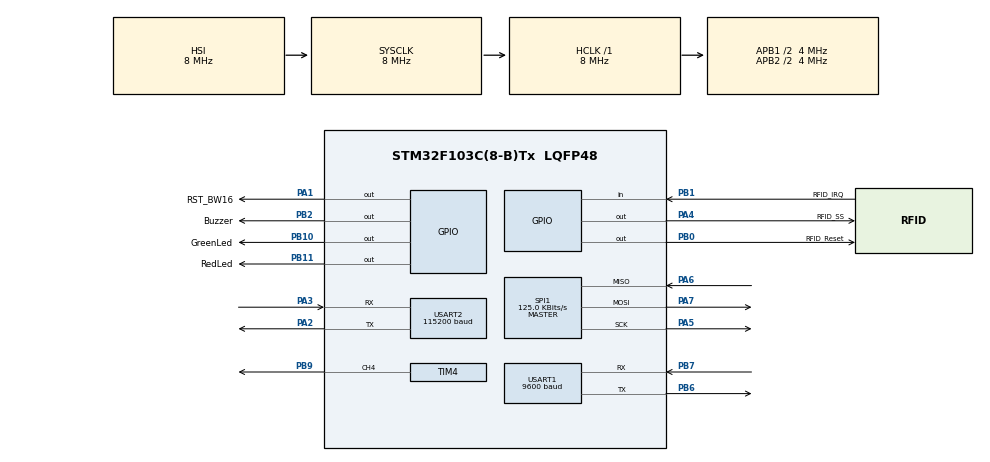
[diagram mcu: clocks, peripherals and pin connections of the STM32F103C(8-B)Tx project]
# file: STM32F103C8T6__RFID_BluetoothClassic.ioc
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Mcu.Family=STM32F1
Mcu.Name=STM32F103C(8-B)Tx
Mcu.Package=LQFP48
NVIC.PriorityGroup=NVIC_PRIORITYGROUP_4
NVIC.TIM1_UP_IRQn=true\:0\:0\:false\:false\:true\:true\:true\:true
NVIC.USART1_IRQn=true\:0\:0\:false\:false\:true\:true\:true\:true
NVIC.USART2_IRQn=true\:0\:0\:false\:false\:true\:true\:true\:true
PA1.GPIO_Label=RST_BW16
PA1.GPIO_PuPd=GPIO_PULLUP
PA1.Signal=GPIO_Output
PA13.Mode=Serial_Wire
PA13.Signal=SYS_JTMS-SWDIO
PA14.Mode=Serial_Wire
PA14.Signal=SYS_JTCK-SWCLK
PA2.Mode=Asynchronous
PA2.Signal=USART2_TX
PA3.Mode=Asynchronous
PA3.Signal=USART2_RX
PA4.GPIO_Label=RFID_SS
PA4.GPIO_Speed=GPIO_SPEED_FREQ_HIGH
PA4.PinState=GPIO_PIN_SET
PA4.Signal=GPIO_Output
PA5.Mode=Full_Duplex_Master
PA5.Signal=SPI1_SCK
PA6.Mode=Full_Duplex_Master
PA6.Signal=SPI1_MISO
PA7.Mode=Full_Duplex_Master
PA7.Signal=SPI1_MOSI
PB0.GPIO_Label=RFID_Reset
PB0.GPIO_Speed=GPIO_SPEED_FREQ_HIGH
PB0.Signal=GPIO_Output
PB1.GPIO_Label=RFID_IRQ
PB1.Signal=GPIO_Input
PB10.GPIO_Label=GreenLed
PB10.GPIO_PuPd=GPIO_PULLUP
PB10.GPIO_Speed=GPIO_SPEED_FREQ_HIGH
PB10.Signal=GPIO_Output
PB11.GPIO_Label=RedLed
PB11.GPIO_PuPd=GPIO_PULLUP
PB11.Signal=GPIO_Output
PB2.GPIO_Label=Buzzer
PB2.GPIO_PuPd=GPIO_PULLUP
PB2.GPIO_Speed=GPIO_SPEED_FREQ_HIGH
PB2.PinState=GPIO_PIN_SET
PB2.Signal=GPIO_Output
PB6.Mode=Asynchronous
PB6.Signal=USART1_TX
PB7.Mode=Asynchronous
PB7.Signal=USART1_RX
PB9.Signal=S_TIM4_CH4
PD0-OSC_IN.Mode=HSE-External-Oscillator
PD0-OSC_IN.Signal=RCC_OSC_IN
PD1-OSC_OUT.Mode=HSE-External-Oscillator
PD1-OSC_OUT.Signal=RCC_OSC_OUT
ProjectManager.HeapSize=0x200
ProjectManager.StackSize=0x400
ProjectManager.TargetToolchain=STM32CubeIDE
RCC.AHBFreq_Value=8000000
RCC.APB1CLKDivider=RCC_HCLK_DIV2
RCC.APB1Freq_Value=4000000
RCC.APB1TimFreq_Value=8000000
RCC.APB2CLKDivider=RCC_HCLK_DIV2
RCC.APB2Freq_Value=4000000
RCC.APB2TimFreq_Value=8000000
RCC.HCLKFreq_Value=8000000
RCC.PLLMUL=RCC_PLL_MUL9
RCC.PLLSourceVirtual=RCC_PLLSOURCE_HSE
RCC.SYSCLKFreq_VALUE=8000000
RCC.USBFreq_Value=72000000
SH.S_TIM4_CH4.0=TIM4_CH4,PWM Generation4 CH4
SPI1.BaudRatePrescaler=SPI_BAUDRATEPRESCALER_32
SPI1.CalculateBaudRate=125.0 KBits/s
SPI1.Direction=SPI_DIRECTION_2LINES
SPI1.FirstBit=SPI_FIRSTBIT_LSB
SPI1.Mode=SPI_MODE_MASTER
SPI1.VirtualType=VM_MASTER
TIM1.Period=200
TIM1.Prescaler=7999
TIM2.Period=6
TIM2.Prescaler=8799
TIM4.Channel-PWM\ Generation4\ CH4=TIM_CHANNEL_4
TIM4.Period=9999
TIM4.Prescaler=15
USART1.BaudRate=9600
USART1.VirtualMode=VM_ASYNC
USART2.BaudRate=115200
USART2.VirtualMode=VM_ASYNC
VP_TIM1_VS_ClockSourceINT.Mode=Internal
VP_TIM2_VS_ClockSourceINT.Mode=Internal
VP_TIM4_VS_ClockSourceINT.Mode=Internal
board=custom

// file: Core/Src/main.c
/* USER CODE BEGIN Header */
/**
  ******************************************************************************
  * @file           : main.c
  * @brief          : Main program body
  ******************************************************************************
  * @attention
  *
  * <h2><center>&copy; Copyright (c) 2020 STMicroelectronics.
  * All rights reserved.</center></h2>
  *
  * This software component is licensed by ST under BSD 3-Clause license,
  * the "License"; You may not use this file except in compliance with the
  * License. You may obtain a copy of the License at:
  *                        opensource.org/licenses/BSD-3-Clause
  *
  ******************************************************************************
  */
/* USER CODE END Header */

#include "main.h"

/* USER CODE BEGIN Includes */
#include "pn532_stm32f1.h"
#include <stdio.h>
#include <string.h>
#include "bw16AT.h"
/* USER CODE END Includes */

/* USER CODE BEGIN PD */
#define use_HEXADECIMAL
/* USER CODE END PD */

SPI_HandleTypeDef hspi1;

TIM_HandleTypeDef htim1;
TIM_HandleTypeDef htim2;
TIM_HandleTypeDef htim4;

UART_HandleTypeDef huart1;
UART_HandleTypeDef huart2;

void SystemClock_Config(void);
static void MX_GPIO_Init(void);
static void MX_SPI1_Init(void);
static void MX_USART2_UART_Init(void);
static void MX_USART1_UART_Init(void);
static void MX_TIM1_Init(void);
static void MX_TIM2_Init(void);
static void MX_TIM4_Init(void);
/* USER CODE BEGIN PFP */
void Bw16_WiFi_Init(void);
void Stm32_Clearing_Buffer(uint8_t *ptrBuffer, uint16_t sizeBuffer);
void Stm32_Check_BW16_Response(uint8_t *ptrBuffer, uint8_t *ptrContent);
void SmartConfigWifi(void);
void BW16_MQTT_Broker_Init();
/* USER CODE END PFP */

/* USER CODE BEGIN 0 */
uint8_t wirelessBuffer[WIRELESS_MAX_BYTES];
uint8_t wirelessData = 0;
uint16_t wirelessCounter = 0;

uint8_t modbusData[WIRELESS_MAX_BYTES];
uint8_t modbusDataChar = 0;
uint16_t modbusDataCount = 0;
uint8_t buffUartWifi = 0;
uint8_t displayStatusWiFi = 0;
MQTT_StructuresTypeDef broker;
uint8_t maincheck = 0;
uint8_t statusWiFiCounter = 0;
uint8_t statusClose = 0;
uint8_t Flag_counter = 0;
//use for print debug log
int _write(int file, char *ptr, int len)
{
    HAL_UART_Transmit(&huart1, (uint8_t*)ptr, len, HAL_MAX_DELAY);
    return len;
}
void HAL_UART_RxCpltCallback(UART_HandleTypeDef *huart)
{
	UNUSED(huart);// tránh cảnh báo biến chưa được sử dụng từ trình biên dịc

	if(huart->Instance == USART1)
	{

		HAL_UART_Receive_IT(&huart1, &modbusDataChar, 1);
		modbusData[modbusDataCount] = modbusDataChar;
		modbusDataCount++;
	}
	if(huart->Instance == USART2)
	{
//		if(buffUartWifi == 0){
//			buffUartWifi = 1;
//			HAL_TIM_Base_Start(&htim2);
//		}
		HAL_UART_Receive_IT(&huart2, &wirelessData, 1);
		if(wirelessData == 0) wirelessData = 64;
		wirelessBuffer[wirelessCounter++] = wirelessData;
		if(wirelessCounter > WIRELESS_MAX_BYTES - 1) wirelessCounter = 0;
//		__HAL_TIM_SET_COUNTER(&htim2, 0);
	}
}

void HAL_TIM_PeriodElapsedCallback(TIM_HandleTypeDef *htim)
{
  UNUSED(htim);

  if(htim->Instance == TIM1)
  {
	statusWiFiCounter++;
	if(maincheck == 0){
		if(statusWiFiCounter == displayStatusWiFi)
		{
			if(displayStatusWiFi != SMARTCONFIG_WIFI){
			  if(displayStatusWiFi == SUCCESSFULLY_CONNECTED_WIFIAP) HAL_GPIO_WritePin(GreenLed_GPIO_Port, GreenLed_Pin, GPIO_PIN_RESET);
			  else HAL_GPIO_TogglePin(GreenLed_GPIO_Port, GreenLed_Pin);
			}
			else{
			  HAL_GPIO_WritePin(GreenLed_GPIO_Port, GreenLed_Pin, GPIO_PIN_RESET);
			  if(displayStatusWiFi == SUCCESSFULLY_CONNECTED_WIFIAP) HAL_GPIO_WritePin(RedLed_GPIO_Port, RedLed_Pin, GPIO_PIN_RESET);
			  else HAL_GPIO_TogglePin(RedLed_GPIO_Port, RedLed_Pin);
			}

		  statusWiFiCounter = 0;
		}
	}
	else{
		if(statusWiFiCounter == 120){
			Flag_counter = 1;
			statusWiFiCounter = 0;

		}
	}
  }
}
/* USER CODE END 0 */
uint16_t countertest;
int main(void)
{

  /* MCU Configuration--------------------------------------------------------*/

  /* Reset of all peripherals, Initializes the Flash interface and the Systick. */
  HAL_Init();

  /* Configure the system clock */
  SystemClock_Config();

  /* USER CODE BEGIN SysInit */
  HAL_Delay(2000);
  /* USER CODE END SysInit */

  /* Initialize all configured peripherals */
  MX_GPIO_Init();
  MX_SPI1_Init();
  MX_USART2_UART_Init();
  MX_USART1_UART_Init();
  MX_TIM1_Init();
  MX_TIM2_Init();
  MX_TIM4_Init();
  /* USER CODE BEGIN 2 */

  HAL_UART_Receive_IT(&huart1, &modbusDataChar, 1);
  HAL_UART_Receive_IT(&huart2, &wirelessData, 1);
  HAL_TIM_Base_Start_IT(&htim1);
  HAL_TIM_PWM_Start(&htim4, TIM_CHANNEL_4);

  uint8_t buff[255];
  uint8_t uid[10];
  int32_t uid_len = 0;
  printf("init systems\r\n");
//  while(1){
//		__HAL_TIM_SET_COMPARE(&htim4,TIM_CHANNEL_4,950);
//		HAL_Delay(1000);
//		__HAL_TIM_SET_COMPARE(&htim4,TIM_CHANNEL_4,450);
//		HAL_Delay(1000);
//  }

  Bw16_WiFi_Init();
  BW16_MQTT_Broker_Init();

//  HAL_TIM_Base_Stop(&htim1);
  maincheck = 1;
  HAL_GPIO_WritePin(RedLed_GPIO_Port, RedLed_Pin, GPIO_PIN_RESET);
  HAL_GPIO_WritePin(GreenLed_GPIO_Port, GreenLed_Pin,RESET);
  __HAL_TIM_SET_COMPARE(&htim4,TIM_CHANNEL_4,950);

  PN532 pn532;
  PN532_SPI_Init(&pn532);
  printf("init PN532\r\n");
  if (PN532_GetFirmwareVersion(&pn532, buff) != PN532_STATUS_OK)
  {	  uint8_t timeout = 10;
	  while(timeout--){
		  HAL_GPIO_TogglePin(RedLed_GPIO_Port, RedLed_Pin);
		  HAL_Delay(200);
	  }HAL_TIM_Base_Stop(&htim2);
	  HAL_NVIC_SystemReset();
  }
  printf("PN532_GetFirmwareVersion success\r\n");

  PN532_SamConfiguration(&pn532);
  /* USER CODE END 2 */

  /* Infinite loop */
  while (1)
  {

    /* USER CODE BEGIN 3 */
	memset(uid, 0, sizeof(uid));

	uid_len = PN532_ReadPassiveTarget(&pn532, uid, PN532_MIFARE_ISO14443A, 1000);
	if (uid_len != PN532_STATUS_ERROR)
	{
		char stringForHex[6 * uid_len + 6];
		memset(stringForHex, 0, sizeof(stringForHex));
		strcat(stringForHex, "CODE:");
		for(uint8_t i=0; i<uid_len; i++)
		{
//			printf("%02X\r\n",uid[i]);
			sprintf(stringForHex + strlen(stringForHex), " 0x%02X", uid[i]);
		}

		printf("%s\r\n",stringForHex);
		HAL_GPIO_WritePin(Buzzer_GPIO_Port, Buzzer_Pin, RESET);
		HAL_Delay(100);
		HAL_GPIO_WritePin(Buzzer_GPIO_Port, Buzzer_Pin, SET);
		Bw16_MQTT_Publish(huart2,broker.topic.pub,(uint8_t*)"0",(uint8_t*)"0",(uint8_t*)stringForHex);
		Stm32_Clearing_Buffer(wirelessBuffer, WIRELESS_MAX_BYTES);
		HAL_GPIO_WritePin(RedLed_GPIO_Port, RedLed_Pin, GPIO_PIN_SET);
		HAL_GPIO_WritePin(GreenLed_GPIO_Port, GreenLed_Pin,RESET);
		__HAL_TIM_SET_COMPARE(&htim4,TIM_CHANNEL_4,950);
		HAL_Delay(400);
	}
	for (uint8_t i = 0; i < 50;i++){
		if(wirelessBuffer[i] == 'O' && wirelessBuffer[i+1] == 'P' && wirelessBuffer[i+2] == 'E' &&
		   wirelessBuffer[i+3] == 'N'){
				HAL_GPIO_WritePin(GreenLed_GPIO_Port, GreenLed_Pin,SET);
				HAL_GPIO_WritePin(RedLed_GPIO_Port, RedLed_Pin,RESET);
				Stm32_Clearing_Buffer(wirelessBuffer, WIRELESS_MAX_BYTES);
				statusWiFiCounter = 0;
				statusClose = 1;
				__HAL_TIM_SET_COMPARE(&htim4,TIM_CHANNEL_4,450);
			printf("Open\r\n");
		}
		else if(wirelessBuffer[i] == 'C' && wirelessBuffer[i+1] == 'L' && wirelessBuffer[i+2] == 'O' &&
		   wirelessBuffer[i+3] == 'S' && wirelessBuffer[i+4] == 'E'){
				HAL_GPIO_WritePin(GreenLed_GPIO_Port, GreenLed_Pin,RESET);
				HAL_GPIO_WritePin(RedLed_GPIO_Port, RedLed_Pin,SET);
				Stm32_Clearing_Buffer(wirelessBuffer, WIRELESS_MAX_BYTES);
				statusWiFiCounter = 0;
				__HAL_TIM_SET_COMPARE(&htim4,TIM_CHANNEL_4,950);
				printf("Close\r\n");
		}
	}
	if(statusClose == 1 && Flag_counter == 1){
		statusClose = 0;
		Flag_counter = 0;
		HAL_GPIO_WritePin(RedLed_GPIO_Port, RedLed_Pin, GPIO_PIN_SET);
		HAL_GPIO_WritePin(GreenLed_GPIO_Port, GreenLed_Pin, GPIO_PIN_RESET);
		__HAL_TIM_SET_COMPARE(&htim4,TIM_CHANNEL_4,950);
	}
	else if(statusClose == 0 && Flag_counter == 1){
		Flag_counter = 0;
	}
  }
  /* USER CODE END 3 */
}

void SystemClock_Config(void)
{
  RCC_OscInitTypeDef RCC_OscInitStruct = {0};
  RCC_ClkInitTypeDef RCC_ClkInitStruct = {0};

  /** Initializes the CPU, AHB and APB busses clocks
  */
  RCC_OscInitStruct.OscillatorType = RCC_OSCILLATORTYPE_HSI;
  RCC_OscInitStruct.HSIState = RCC_HSI_ON;
  RCC_OscInitStruct.HSICalibrationValue = RCC_HSICALIBRATION_DEFAULT;
  RCC_OscInitStruct.PLL.PLLState = RCC_PLL_NONE;
  if (HAL_RCC_OscConfig(&RCC_OscInitStruct) != HAL_OK)
  {
    Error_Handler();
  }
  /** Initializes the CPU, AHB and APB busses clocks
  */
  RCC_ClkInitStruct.ClockType = RCC_CLOCKTYPE_HCLK|RCC_CLOCKTYPE_SYSCLK
                              |RCC_CLOCKTYPE_PCLK1|RCC_CLOCKTYPE_PCLK2;
  RCC_ClkInitStruct.SYSCLKSource = RCC_SYSCLKSOURCE_HSI;
  RCC_ClkInitStruct.AHBCLKDivider = RCC_SYSCLK_DIV1;
  RCC_ClkInitStruct.APB1CLKDivider = RCC_HCLK_DIV2;
  RCC_ClkInitStruct.APB2CLKDivider = RCC_HCLK_DIV2;

  if (HAL_RCC_ClockConfig(&RCC_ClkInitStruct, FLASH_LATENCY_0) != HAL_OK)
  {
    Error_Handler();
  }
}

static void MX_SPI1_Init(void)
{

  /* SPI1 parameter configuration*/
  hspi1.Instance = SPI1;
  hspi1.Init.Mode = SPI_MODE_MASTER;
  hspi1.Init.Direction = SPI_DIRECTION_2LINES;
  hspi1.Init.DataSize = SPI_DATASIZE_8BIT;
  hspi1.Init.CLKPolarity = SPI_POLARITY_LOW;
  hspi1.Init.CLKPhase = SPI_PHASE_1EDGE;
  hspi1.Init.NSS = SPI_NSS_SOFT;
  hspi1.Init.BaudRatePrescaler = SPI_BAUDRATEPRESCALER_32;
  hspi1.Init.FirstBit = SPI_FIRSTBIT_LSB;
  hspi1.Init.TIMode = SPI_TIMODE_DISABLE;
  hspi1.Init.CRCCalculation = SPI_CRCCALCULATION_DISABLE;
  hspi1.Init.CRCPolynomial = 10;
  if (HAL_SPI_Init(&hspi1) != HAL_OK)
  {
    Error_Handler();
  }

}

static void MX_TIM1_Init(void)
{

  TIM_ClockConfigTypeDef sClockSourceConfig = {0};
  TIM_MasterConfigTypeDef sMasterConfig = {0};

  htim1.Instance = TIM1;
  htim1.Init.Prescaler = 7999;
  htim1.Init.CounterMode = TIM_COUNTERMODE_UP;
  htim1.Init.Period = 200;
  htim1.Init.ClockDivision = TIM_CLOCKDIVISION_DIV1;
  htim1.Init.RepetitionCounter = 0;
  htim1.Init.AutoReloadPreload = TIM_AUTORELOAD_PRELOAD_DISABLE;
  if (HAL_TIM_Base_Init(&htim1) != HAL_OK)
  {
    Error_Handler();
  }
  sClockSourceConfig.ClockSource = TIM_CLOCKSOURCE_INTERNAL;
  if (HAL_TIM_ConfigClockSource(&htim1, &sClockSourceConfig) != HAL_OK)
  {
    Error_Handler();
  }
  sMasterConfig.MasterOutputTrigger = TIM_TRGO_RESET;
  sMasterConfig.MasterSlaveMode = TIM_MASTERSLAVEMODE_DISABLE;
  if (HAL_TIMEx_MasterConfigSynchronization(&htim1, &sMasterConfig) != HAL_OK)
  {
    Error_Handler();
  }

}

static void MX_TIM2_Init(void)
{

  TIM_ClockConfigTypeDef sClockSourceConfig = {0};
  TIM_MasterConfigTypeDef sMasterConfig = {0};

  htim2.Instance = TIM2;
  htim2.Init.Prescaler = 8799;
  htim2.Init.CounterMode = TIM_COUNTERMODE_UP;
  htim2.Init.Period = 6;
  htim2.Init.ClockDivision = TIM_CLOCKDIVISION_DIV1;
  htim2.Init.AutoReloadPreload = TIM_AUTORELOAD_PRELOAD_DISABLE;
  if (HAL_TIM_Base_Init(&htim2) != HAL_OK)
  {
    Error_Handler();
  }
  sClockSourceConfig.ClockSource = TIM_CLOCKSOURCE_INTERNAL;
  if (HAL_TIM_ConfigClockSource(&htim2, &sClockSourceConfig) != HAL_OK)
  {
    Error_Handler();
  }
  sMasterConfig.MasterOutputTrigger = TIM_TRGO_RESET;
  sMasterConfig.MasterSlaveMode = TIM_MASTERSLAVEMODE_DISABLE;
  if (HAL_TIMEx_MasterConfigSynchronization(&htim2, &sMasterConfig) != HAL_OK)
  {
    Error_Handler();
  }

}

static void MX_TIM4_Init(void)
{

  TIM_ClockConfigTypeDef sClockSourceConfig = {0};
  TIM_MasterConfigTypeDef sMasterConfig = {0};
  TIM_OC_InitTypeDef sConfigOC = {0};

  htim4.Instance = TIM4;
  htim4.Init.Prescaler = 15;
  htim4.Init.CounterMode = TIM_COUNTERMODE_UP;
  htim4.Init.Period = 9999;
  htim4.Init.ClockDivision = TIM_CLOCKDIVISION_DIV1;
  htim4.Init.AutoReloadPreload = TIM_AUTORELOAD_PRELOAD_DISABLE;
  if (HAL_TIM_Base_Init(&htim4) != HAL_OK)
  {
    Error_Handler();
  }
  sClockSourceConfig.ClockSource = TIM_CLOCKSOURCE_INTERNAL;
  if (HAL_TIM_ConfigClockSource(&htim4, &sClockSourceConfig) != HAL_OK)
  {
    Error_Handler();
  }
  if (HAL_TIM_PWM_Init(&htim4) != HAL_OK)
  {
    Error_Handler();
  }
  sMasterConfig.MasterOutputTrigger = TIM_TRGO_RESET;
  sMasterConfig.MasterSlaveMode = TIM_MASTERSLAVEMODE_DISABLE;
  if (HAL_TIMEx_MasterConfigSynchronization(&htim4, &sMasterConfig) != HAL_OK)
  {
    Error_Handler();
  }
  sConfigOC.OCMode = TIM_OCMODE_PWM1;
  sConfigOC.Pulse = 0;
  sConfigOC.OCPolarity = TIM_OCPOLARITY_HIGH;
  sConfigOC.OCFastMode = TIM_OCFAST_DISABLE;
  if (HAL_TIM_PWM_ConfigChannel(&htim4, &sConfigOC, TIM_CHANNEL_4) != HAL_OK)
  {
    Error_Handler();
  }
  HAL_TIM_MspPostInit(&htim4);

}

static void MX_USART1_UART_Init(void)
{

  huart1.Instance = USART1;
  huart1.Init.BaudRate = 9600;
  huart1.Init.WordLength = UART_WORDLENGTH_8B;
  huart1.Init.StopBits = UART_STOPBITS_1;
  huart1.Init.Parity = UART_PARITY_NONE;
  huart1.Init.Mode = UART_MODE_TX_RX;
  huart1.Init.HwFlowCtl = UART_HWCONTROL_NONE;
  huart1.Init.OverSampling = UART_OVERSAMPLING_16;
  if (HAL_UART_Init(&huart1) != HAL_OK)
  {
    Error_Handler();
  }

}

static void MX_USART2_UART_Init(void)
{

  huart2.Instance = USART2;
  huart2.Init.BaudRate = 115200;
  huart2.Init.WordLength = UART_WORDLENGTH_8B;
  huart2.Init.StopBits = UART_STOPBITS_1;
  huart2.Init.Parity = UART_PARITY_NONE;
  huart2.Init.Mode = UART_MODE_TX_RX;
  huart2.Init.HwFlowCtl = UART_HWCONTROL_NONE;
  huart2.Init.OverSampling = UART_OVERSAMPLING_16;
  if (HAL_UART_Init(&huart2) != HAL_OK)
  {
    Error_Handler();
  }

}

static void MX_GPIO_Init(void)
{
  GPIO_InitTypeDef GPIO_InitStruct = {0};

  /* GPIO Ports Clock Enable */
  __HAL_RCC_GPIOD_CLK_ENABLE();
  __HAL_RCC_GPIOA_CLK_ENABLE();
  __HAL_RCC_GPIOB_CLK_ENABLE();

  /*Configure GPIO pin Output Level */
  HAL_GPIO_WritePin(RST_BW16_GPIO_Port, RST_BW16_Pin, GPIO_PIN_RESET);

  /*Configure GPIO pin Output Level */
  HAL_GPIO_WritePin(RFID_SS_GPIO_Port, RFID_SS_Pin, GPIO_PIN_SET);

  /*Configure GPIO pin Output Level */
  HAL_GPIO_WritePin(GPIOB, RFID_Reset_Pin|GreenLed_Pin|RedLed_Pin, GPIO_PIN_RESET);

  /*Configure GPIO pin Output Level */
  HAL_GPIO_WritePin(Buzzer_GPIO_Port, Buzzer_Pin, GPIO_PIN_SET);

  /*Configure GPIO pin : RST_BW16_Pin */
  GPIO_InitStruct.Pin = RST_BW16_Pin;
  GPIO_InitStruct.Mode = GPIO_MODE_OUTPUT_PP;
  GPIO_InitStruct.Pull = GPIO_PULLUP;
  GPIO_InitStruct.Speed = GPIO_SPEED_FREQ_LOW;
  HAL_GPIO_Init(RST_BW16_GPIO_Port, &GPIO_InitStruct);

  /*Configure GPIO pin : RFID_SS_Pin */
  GPIO_InitStruct.Pin = RFID_SS_Pin;
  GPIO_InitStruct.Mode = GPIO_MODE_OUTPUT_PP;
  GPIO_InitStruct.Pull = GPIO_NOPULL;
  GPIO_InitStruct.Speed = GPIO_SPEED_FREQ_HIGH;
  HAL_GPIO_Init(RFID_SS_GPIO_Port, &GPIO_InitStruct);

  /*Configure GPIO pin : RFID_Reset_Pin */
  GPIO_InitStruct.Pin = RFID_Reset_Pin;
  GPIO_InitStruct.Mode = GPIO_MODE_OUTPUT_PP;
  GPIO_InitStruct.Pull = GPIO_NOPULL;
  GPIO_InitStruct.Speed = GPIO_SPEED_FREQ_HIGH;
  HAL_GPIO_Init(RFID_Reset_GPIO_Port, &GPIO_InitStruct);

  /*Configure GPIO pin : RFID_IRQ_Pin */
  GPIO_InitStruct.Pin = RFID_IRQ_Pin;
  GPIO_InitStruct.Mode = GPIO_MODE_INPUT;
  GPIO_InitStruct.Pull = GPIO_NOPULL;
  HAL_GPIO_Init(RFID_IRQ_GPIO_Port, &GPIO_InitStruct);

  /*Configure GPIO pins : Buzzer_Pin GreenLed_Pin */
  GPIO_InitStruct.Pin = Buzzer_Pin|GreenLed_Pin;
  GPIO_InitStruct.Mode = GPIO_MODE_OUTPUT_PP;
  GPIO_InitStruct.Pull = GPIO_PULLUP;
  GPIO_InitStruct.Speed = GPIO_SPEED_FREQ_HIGH;
  HAL_GPIO_Init(GPIOB, &GPIO_InitStruct);

  /*Configure GPIO pin : RedLed_Pin */
  GPIO_InitStruct.Pin = RedLed_Pin;
  GPIO_InitStruct.Mode = GPIO_MODE_OUTPUT_PP;
  GPIO_InitStruct.Pull = GPIO_PULLUP;
  GPIO_InitStruct.Speed = GPIO_SPEED_FREQ_LOW;
  HAL_GPIO_Init(RedLed_GPIO_Port, &GPIO_InitStruct);

}

/* USER CODE BEGIN 4 */
void Stm32_Clearing_Buffer(uint8_t *ptrBuffer, uint16_t sizeBuffer)
{
  if(ptrBuffer == &wirelessBuffer[0]) wirelessCounter = 0;

	for(uint16_t i = 0; i < sizeBuffer; i++) ptrBuffer[i] = '\0';
}
void Bw16_WiFi_Init(void){
	displayStatusWiFi = CHECK_CONNECTING_WIFIAP;
	HAL_GPIO_WritePin(RST_BW16_GPIO_Port, RST_BW16_Pin, GPIO_PIN_RESET);
	HAL_Delay(500);
	HAL_GPIO_WritePin(RST_BW16_GPIO_Port, RST_BW16_Pin, GPIO_PIN_SET);
//	HAL_Delay(10000);
//	Bw16_Setup_Default(huart2);
//	HAL_Delay(5000);
    if(Bw16_Response(wirelessBuffer, (uint8_t*)"WIFI_GOT_IP", 10000)) Stm32_Clearing_Buffer(wirelessBuffer, WIRELESS_MAX_BYTES);
    else SmartConfigWifi();
    HAL_Delay(200);
	Bw16_Echo(huart2, DISABLE);
	Stm32_Check_BW16_Response(wirelessBuffer, (uint8_t*)"OK");
    HAL_Delay(200);
	Bw16_Configure_Mode(huart2, Flash_STA_Mode);
	Stm32_Check_BW16_Response(wirelessBuffer, (uint8_t*)"OK");
    HAL_Delay(200);
}
void Stm32_Check_BW16_Response(uint8_t *ptrBuffer, uint8_t *ptrContent)
{
	if(!Bw16_Response(ptrBuffer, ptrContent, 10000)) HAL_NVIC_SystemReset();
	else Stm32_Clearing_Buffer(ptrBuffer, WIRELESS_MAX_BYTES);
}
void SmartConfigWifi(void)
{
	displayStatusWiFi = SMARTCONFIG_WIFI;
	HAL_Delay(100);
	BW16_Start_SmartConfig(huart2,Wifi_Config);
	HAL_Delay(100);
	if(Bw16_Response(wirelessBuffer, (uint8_t*)"WIFI_GOT_IP", 60000)) Stm32_Clearing_Buffer(wirelessBuffer, WIRELESS_MAX_BYTES);
	else HAL_NVIC_SystemReset();

	BW16_Start_SmartConfig(huart2,OFF);
	HAL_Delay(100);
	Stm32_Check_BW16_Response(wirelessBuffer, (uint8_t*)"OK");
}
void BW16_MQTT_Broker_Init()
{
	strcpy((char*)broker.host, "");
	strcpy((char*)broker.port, "");
	strcpy((char*)broker.user, "");
	strcpy((char*)broker.password, "");
	strcpy((char*)broker.id, DeviceID);
	strcpy((char*)broker.topic.sub, "device/NFC");
	strcpy((char*)broker.topic.pub, "server/NFC");
	displayStatusWiFi = SUCCESSFULLY_CONNECTED_WIFIAP;
	Bw16_Set_Info_MQTT(huart2, (uint8_t *)"1", broker.host);

	Stm32_Check_BW16_Response(wirelessBuffer,(uint8_t*)"OK");

	Bw16_Set_Info_MQTT(huart2,(uint8_t *)"2",broker.port);
	Stm32_Check_BW16_Response(wirelessBuffer,(uint8_t*)"OK");

	Bw16_Set_Info_MQTT(huart2,(uint8_t *)"3",(uint8_t *)"1");
	Stm32_Check_BW16_Response(wirelessBuffer,(uint8_t*)"OK");

	Bw16_Set_Info_MQTT(huart2,(uint8_t *)"4",(uint8_t *) DeviceID);
	Stm32_Check_BW16_Response(wirelessBuffer,(uint8_t*)"OK");

	Bw16_Set_Info_MQTT(huart2,(uint8_t *)"5",broker.user);
	HAL_Delay(100);
	Stm32_Check_BW16_Response(wirelessBuffer,(uint8_t*)"OK");

	Bw16_Set_Info_MQTT(huart2,(uint8_t *)"6",broker.password);
	HAL_Delay(100);
	Stm32_Check_BW16_Response(wirelessBuffer,(uint8_t*)"OK");

	Bw16_Set_Info_MQTT(huart2,(uint8_t *)"7",(uint8_t *)"\"\",0,0,\"\"");
	Stm32_Check_BW16_Response(wirelessBuffer,(uint8_t*)"OK");

	Bw16_Connect_MQTT(huart2);
	Stm32_Check_BW16_Response(wirelessBuffer,(uint8_t*)"OK");
	HAL_Delay(500);
	Bw16_MQTT_Publish(huart2,broker.topic.pub,(uint8_t*)"0",(uint8_t*)"0",(uint8_t*)"<!> Successfully connected");
	Stm32_Check_BW16_Response(wirelessBuffer,(uint8_t*)"OK");
	HAL_Delay(500);
	Bw16_MQTT_Subscribe(huart2,broker.topic.sub,(uint8_t*)"0");
	Stm32_Check_BW16_Response(wirelessBuffer,(uint8_t*)"OK");
}
/* USER CODE END 4 */

void Error_Handler(void)
{
}

/************************ (C) COPYRIGHT STMicroelectronics *****END OF FILE****/
